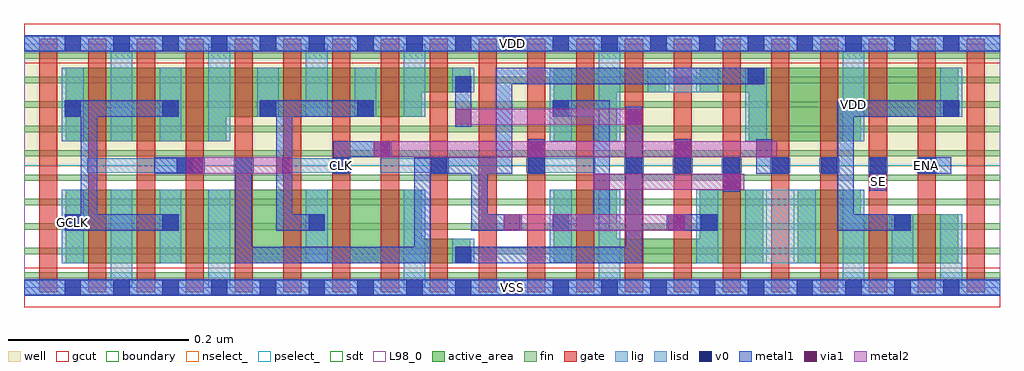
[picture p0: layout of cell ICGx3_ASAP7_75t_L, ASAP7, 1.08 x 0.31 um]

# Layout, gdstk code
import gdstk
lib = gdstk.Library(unit=1e-6, precision=2.5e-10)
def R(c, l, rs):  # rectangles x0, y0, x1, y1
    for r in rs: c.add(gdstk.rectangle(r[:2], r[2:], *l))
def A(c, l, x, y, w, h, nx, ny, dx, dy):  # array of equal rectangles
    R(c, l, [(x+i*dx, y+j*dy, x+i*dx+w, y+j*dy+h) for i in range(nx) for j in range(ny)])
def P(c, l, *ps):  # polygons
    for p in ps: c.add(gdstk.Polygon(p, *l))
well = (1, 0)
fin = (2, 0)
gate = (7, 0)
gcut = (10, 0)
active_area = (11, 0)
nselect_ = (12, 0)
pselect_ = (13, 0)
lig = (16, 0)
lisd = (17, 0)
v0 = (18, 0)
metal1 = (19, 0)
metal2 = (20, 0)
via1 = (21, 0)
sdt = (88, 0)
L98_0 = (98, 0)
boundary = (100, 0)

icgx3_asap7_75t_l = lib.new_cell('ICGx3_ASAP7_75t_L')
R(icgx3_asap7_75t_l, well, [(0,0.135,1.08,0.27)])
A(icgx3_asap7_75t_l, fin, 0, 0.01, 1.08, 0.007, 1, 10, 0, 0.027)
A(icgx3_asap7_75t_l, gate, 0.017, -0.005, 0.02, 0.28, 20, 1, 0.054, 0)
R(icgx3_asap7_75t_l, gcut, [(0,-0.022,1.08,0.022), (0,0.248,1.08,0.292)])
P(icgx3_asap7_75t_l, active_area, [(0.926,0.108),(0.856,0.108),(0.856,0.027),(1.034,0.027),(1.034,0.081),(0.926,0.081)],
  [(0.656,0.108),(0.586,0.108),(0.586,0.027),(0.818,0.027),(0.818,0.108),(0.748,0.108),(0.748,0.054),(0.656,0.054)],
  [(0.046,0.027),(0.494,0.027),(0.494,0.054),(0.44,0.054),(0.44,0.108),(0.046,0.108)],
  [(0.586,0.162),(0.656,0.162),(0.656,0.216),(0.71,0.216),(0.71,0.243),(0.586,0.243)],
  [(1.034,0.243),(0.748,0.243),(0.748,0.216),(0.802,0.216),(0.802,0.162),(0.926,0.162),(0.926,0.189),(1.034,0.189)],
  [(0.44,0.216),(0.494,0.216),(0.494,0.243),(0.046,0.243),(0.046,0.162),(0.224,0.162),(0.224,0.189),(0.44,0.189)])
R(icgx3_asap7_75t_l, nselect_, [(0,0,1.08,0.135)])
R(icgx3_asap7_75t_l, pselect_, [(0,0.135,1.08,0.27)])
A(icgx3_asap7_75t_l, lig, 0.664, 0.127, 0.022, 0.016, 7, 1, 0.054, 0)
R(icgx3_asap7_75t_l, lig, [(0,-0.008,1.08,0.008), (0.07,0.127,0.2,0.143), (0.232,0.127,0.254,0.143), (0.286,0.127,0.362,0.143), (0.394,0.127,0.47,0.143), (0.556,0.127,0.632,0.143), (0,0.262,1.08,0.278)])
A(icgx3_asap7_75t_l, lisd, 0.204, 0, 0.024, 0.108, 3, 1, 0.216, 0)
R(icgx3_asap7_75t_l, lisd, [(0.096,0,0.12,0.108), (0.906,0,0.93,0.108), (1.014,0,1.038,0.081), (0.042,0.027,0.066,0.108), (0.15,0.027,0.174,0.108), (0.312,0.027,0.336,0.108), (0.474,0.027,0.498,0.054), (0.582,0.027,0.606,0.108), (0.744,0.027,0.768,0.108), (0.798,0.027,0.876,0.108), (0.96,0.027,0.984,0.081), (0.042,0.162,0.066,0.243), (0.096,0.162,0.12,0.27), (0.15,0.162,0.174,0.243), (0.204,0.162,0.228,0.27), (0.582,0.162,0.606,0.243), (0.636,0.162,0.66,0.27), (0.798,0.162,0.822,0.243), (0.906,0.162,0.93,0.27), (0.258,0.189,0.282,0.243), (0.312,0.189,0.336,0.27), (0.366,0.189,0.39,0.243), (0.42,0.189,0.444,0.27), (1.014,0.189,1.038,0.243), (0.474,0.216,0.498,0.243), (0.69,0.216,0.768,0.243)])
A(icgx3_asap7_75t_l, v0, 0.045, -0.009, 0.018, 0.018, 19, 2, 0.054, 0.27)
A(icgx3_asap7_75t_l, v0, 0.234, 0.126, 0.018, 0.018, 5, 1, 0.108, 0)
A(icgx3_asap7_75t_l, v0, 0.72, 0.126, 0.018, 0.018, 6, 1, 0.054, 0)
A(icgx3_asap7_75t_l, v0, 0.045, 0.189, 0.018, 0.018, 4, 1, 0.108, 0)
R(icgx3_asap7_75t_l, v0, [(0.477,0.027,0.495,0.045), (0.045,0.063,0.063,0.081), (0.153,0.063,0.171,0.081), (0.315,0.063,0.333,0.081), (0.585,0.063,0.603,0.081), (0.749,0.063,0.767,0.081), (0.963,0.063,0.981,0.081), (0.169,0.126,0.187,0.144), (0.585,0.189,0.603,0.207), (1.017,0.189,1.035,0.207), (0.477,0.216,0.495,0.234), (0.801,0.225,0.819,0.243)])
R(icgx3_asap7_75t_l, metal1, [(0,-0.009,1.08,0.009), (0.711,0.063,0.767,0.081), (0.774,0.106,0.792,0.144), (0.936,0.107,0.954,0.144), (0.144,0.126,0.2,0.144), (0.558,0.126,0.576,0.164), (0.72,0.126,0.738,0.164), (0.99,0.126,1.026,0.144), (0.477,0.178,0.495,0.234), (0,0.261,1.08,0.279)])
P(icgx3_asap7_75t_l, metal1, [(0.846,0.144),(0.828,0.144),(0.828,0.164),(0.81,0.164),(0.81,0.126),(0.846,0.126)],
  [(0.36,0.144),(0.407,0.144),(0.407,0.162),(0.342,0.162),(0.342,0.126),(0.36,0.126)],
  [(0.684,0.2),(0.666,0.2),(0.666,0.045),(0.477,0.045),(0.477,0.027),(0.684,0.027)],
  [(0.171,0.081),(0.081,0.081),(0.081,0.189),(0.171,0.189),(0.171,0.207),(0.045,0.207),(0.045,0.189),(0.063,0.189),(0.063,0.081),(0.045,0.081),(0.045,0.063),(0.171,0.063)],
  [(0.648,0.207),(0.585,0.207),(0.585,0.189),(0.63,0.189),(0.63,0.081),(0.585,0.081),(0.585,0.063),(0.648,0.063)],
  [(0.333,0.081),(0.297,0.081),(0.297,0.189),(0.387,0.189),(0.387,0.207),(0.261,0.207),(0.261,0.189),(0.279,0.189),(0.279,0.063),(0.333,0.063)],
  [(1.035,0.207),(0.9,0.207),(0.9,0.144),(0.882,0.144),(0.882,0.126),(0.9,0.126),(0.9,0.063),(0.981,0.063),(0.981,0.081),(0.918,0.081),(0.918,0.189),(1.035,0.189)],
  [(0.45,0.126),(0.495,0.126),(0.495,0.063),(0.551,0.063),(0.551,0.081),(0.513,0.081),(0.513,0.126),(0.54,0.126),(0.54,0.225),(0.819,0.225),(0.819,0.243),(0.522,0.243),(0.522,0.144),(0.432,0.144),(0.432,0.045),(0.252,0.045),(0.252,0.144),(0.234,0.144),(0.234,0.027),(0.45,0.027)])
R(icgx3_asap7_75t_l, metal2, [(0.531,0.063,0.731,0.081), (0.63,0.108,0.797,0.126), (0.18,0.126,0.297,0.144), (0.387,0.144,0.833,0.162), (0.477,0.18,0.684,0.198)])
R(icgx3_asap7_75t_l, via1, [(0.531,0.063,0.549,0.081), (0.713,0.063,0.731,0.081), (0.63,0.108,0.648,0.126), (0.774,0.108,0.792,0.126), (0.18,0.126,0.198,0.144), (0.279,0.126,0.297,0.144), (0.387,0.144,0.405,0.162), (0.558,0.144,0.576,0.162), (0.72,0.144,0.738,0.162), (0.81,0.144,0.828,0.162), (0.477,0.18,0.495,0.198), (0.666,0.18,0.684,0.198)])
A(icgx3_asap7_75t_l, sdt, 0.042, 0.027, 0.024, 0.081, 4, 2, 0.054, 0.135)
A(icgx3_asap7_75t_l, sdt, 0.744, 0.027, 0.024, 0.081, 4, 1, 0.054, 0)
A(icgx3_asap7_75t_l, sdt, 0.258, 0.189, 0.024, 0.054, 4, 1, 0.054, 0)
R(icgx3_asap7_75t_l, sdt, [(0.312,0.027,0.336,0.108), (0.42,0.027,0.444,0.108), (0.474,0.027,0.498,0.054), (0.582,0.027,0.606,0.108), (0.636,0.027,0.66,0.108), (0.96,0.027,0.984,0.081), (1.014,0.027,1.038,0.081), (0.582,0.162,0.606,0.243), (0.636,0.162,0.66,0.243), (0.798,0.162,0.822,0.243), (0.906,0.162,0.93,0.243), (1.014,0.189,1.038,0.243), (0.474,0.216,0.498,0.243), (0.69,0.216,0.714,0.243), (0.744,0.216,0.768,0.243)])
R(icgx3_asap7_75t_l, L98_0, [(0,0,1.08,0.27)])
R(icgx3_asap7_75t_l, boundary, [(0,0,1.08,0.27)])
icgx3_asap7_75t_l.add(gdstk.Label('SE', (0.945,0.117), layer=19, texttype=251))
icgx3_asap7_75t_l.add(gdstk.Label('GCLK', (0.054,0.072), layer=19, texttype=251))
icgx3_asap7_75t_l.add(gdstk.Label('ENA', (0.999,0.135), layer=19, texttype=251))
icgx3_asap7_75t_l.add(gdstk.Label('CLK', (0.351,0.135), layer=19, texttype=251))
icgx3_asap7_75t_l.add(gdstk.Label('VSS', (0.54,0), layer=19, texttype=251))
icgx3_asap7_75t_l.add(gdstk.Label('VDD', (0.54,0.27), layer=19, texttype=251))
icgx3_asap7_75t_l.add(gdstk.Label('VDD', (0.918,0.2025), layer=1, texttype=251))
icgx3_asap7_75t_l.add(gdstk.Label('VSS', (1.242,0.2025), layer=3, texttype=251))

lib.write_gds('ICGx3_ASAP7_75t_L.gds')
